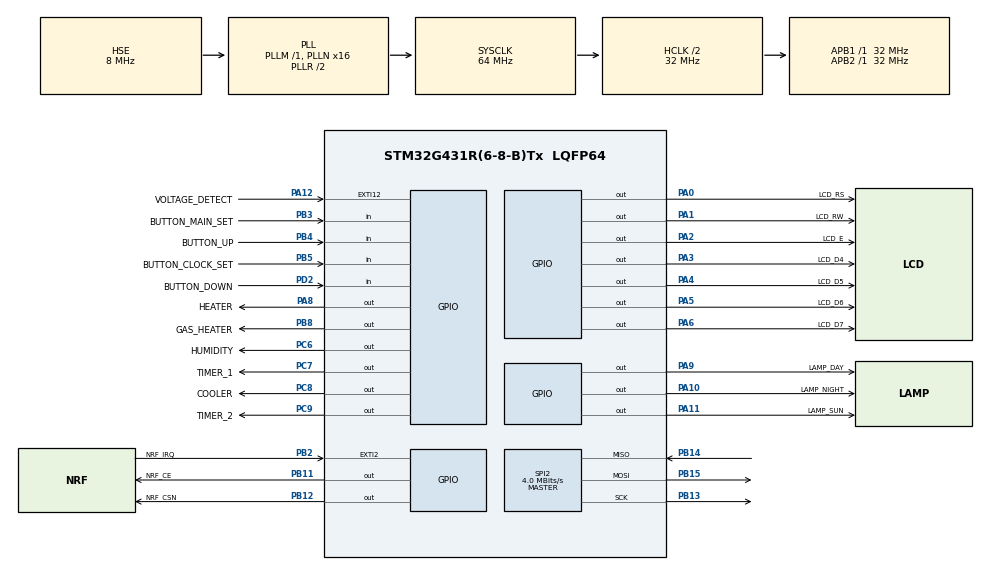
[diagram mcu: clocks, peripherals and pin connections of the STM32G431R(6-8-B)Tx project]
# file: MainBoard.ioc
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FREERTOS.INCLUDE_eTaskGetState=1
FREERTOS.INCLUDE_pcTaskGetTaskName=1
FREERTOS.INCLUDE_uxTaskGetStackHighWaterMark=1
FREERTOS.INCLUDE_uxTaskGetStackHighWaterMark2=1
FREERTOS.INCLUDE_vTaskCleanUpResources=1
FREERTOS.INCLUDE_vTaskDelete=1
FREERTOS.INCLUDE_xEventGroupSetBitFromISR=1
FREERTOS.INCLUDE_xSemaphoreGetMutexHolder=1
FREERTOS.INCLUDE_xTaskAbortDelay=1
FREERTOS.INCLUDE_xTaskGetHandle=1
FREERTOS.INCLUDE_xTaskGetSchedulerState=1
FREERTOS.Tasks01=defaultTask,24,128,StartDefaultTask,Default,NULL,Dynamic,NULL,NULL
FREERTOS.configCHECK_FOR_STACK_OVERFLOW=2
FREERTOS.configENABLE_FPU=1
FREERTOS.configGENERATE_RUN_TIME_STATS=1
FREERTOS.configRECORD_STACK_HIGH_ADDRESS=1
FREERTOS.configTIMER_TASK_PRIORITY=2
FREERTOS.configTIMER_TASK_STACK_DEPTH=512
FREERTOS.configTOTAL_HEAP_SIZE=15000
FREERTOS.configUSE_DAEMON_TASK_STARTUP_HOOK=1
FREERTOS.configUSE_IDLE_HOOK=1
FREERTOS.configUSE_MALLOC_FAILED_HOOK=1
FREERTOS.configUSE_NEWLIB_REENTRANT=1
FREERTOS.configUSE_STATS_FORMATTING_FUNCTIONS=1
FREERTOS.configUSE_TICK_HOOK=0
FREERTOS.configUSE_TRACE_FACILITY=1
Mcu.Family=STM32G4
Mcu.Name=STM32G431R(6-8-B)Tx
Mcu.Package=LQFP64
NVIC.EXTI15_10_IRQn=true\:5\:0\:false\:false\:true\:true\:true\:true\:true
NVIC.EXTI2_IRQn=true\:5\:0\:false\:false\:true\:true\:true\:true\:true
NVIC.PriorityGroup=NVIC_PRIORITYGROUP_4
NVIC.TIM1_UP_TIM16_IRQn=true\:15\:0\:false\:false\:true\:false\:false\:true\:true
NVIC.TIM2_IRQn=true\:5\:0\:false\:false\:true\:true\:true\:true\:true
NVIC.TimeBase=TIM1_UP_TIM16_IRQn
NVIC.TimeBaseIP=TIM1
PA0.GPIO_Label=LCD_RS
PA0.Signal=GPIO_Output
PA1.GPIO_Label=LCD_RW
PA1.Signal=GPIO_Output
PA10.GPIO_Label=LAMP_NIGHT
PA10.PinState=GPIO_PIN_SET
PA10.Signal=GPIO_Output
PA11.GPIO_Label=LAMP_SUN
PA11.Signal=GPIO_Output
PA12.GPIO_Label=VOLTAGE_DETECT
PA12.Signal=GPXTI12
PA13.Mode=Serial_Wire
PA13.Signal=SYS_JTMS-SWDIO
PA14.Mode=Serial_Wire
PA14.Signal=SYS_JTCK-SWCLK
PA2.GPIO_Label=LCD_E
PA2.Signal=GPIO_Output
PA3.GPIO_Label=LCD_D4
PA3.Signal=GPIO_Output
PA4.GPIO_Label=LCD_D5
PA4.Signal=GPIO_Output
PA5.GPIO_Label=LCD_D6
PA5.Signal=GPIO_Output
PA6.GPIO_Label=LCD_D7
PA6.Signal=GPIO_Output
PA8.GPIO_Label=HEATER
PA8.PinState=GPIO_PIN_SET
PA8.Signal=GPIO_Output
PA9.GPIO_Label=LAMP_DAY
PA9.PinState=GPIO_PIN_SET
PA9.Signal=GPIO_Output
PB11.GPIO_Label=NRF_CE
PB11.GPIO_Speed=GPIO_SPEED_FREQ_LOW
PB11.PinState=GPIO_PIN_RESET
PB11.Signal=GPIO_Output
PB12.GPIO_Label=NRF_CSN
PB12.GPIO_Speed=GPIO_SPEED_FREQ_LOW
PB12.PinState=GPIO_PIN_SET
PB12.Signal=GPIO_Output
PB13.Mode=Full_Duplex_Master
PB13.Signal=SPI2_SCK
PB14.Mode=Full_Duplex_Master
PB14.Signal=SPI2_MISO
PB15.Mode=Full_Duplex_Master
PB15.Signal=SPI2_MOSI
PB2.GPIO_Label=NRF_IRQ
PB2.GPIO_ModeDefaultEXTI=GPIO_MODE_IT_FALLING
PB2.GPIO_PuPd=GPIO_PULLUP
PB2.Signal=GPXTI2
PB3.GPIO_Label=BUTTON_MAIN_SET
PB3.Signal=GPIO_Input
PB4.GPIO_Label=BUTTON_UP
PB4.Signal=GPIO_Input
PB5.GPIO_Label=BUTTON_CLOCK_SET
PB5.Signal=GPIO_Input
PB8-BOOT0.GPIO_Label=GAS_HEATER
PB8-BOOT0.Signal=GPIO_Output
PC14-OSC32_IN.Mode=LSE-External-Oscillator
PC14-OSC32_IN.Signal=RCC_OSC32_IN
PC15-OSC32_OUT.Mode=LSE-External-Oscillator
PC15-OSC32_OUT.Signal=RCC_OSC32_OUT
PC6.GPIO_Label=HUMIDITY
PC6.PinState=GPIO_PIN_SET
PC6.Signal=GPIO_Output
PC7.GPIO_Label=TIMER_1
PC7.PinState=GPIO_PIN_SET
PC7.Signal=GPIO_Output
PC8.GPIO_Label=COOLER
PC8.PinState=GPIO_PIN_SET
PC8.Signal=GPIO_Output
PC9.GPIO_Label=TIMER_2
PC9.PinState=GPIO_PIN_SET
PC9.Signal=GPIO_Output
PD2.GPIO_Label=BUTTON_DOWN
PD2.Signal=GPIO_Input
PF0-OSC_IN.Mode=HSE-External-Oscillator
PF0-OSC_IN.Signal=RCC_OSC_IN
PF1-OSC_OUT.Mode=HSE-External-Oscillator
PF1-OSC_OUT.Signal=RCC_OSC_OUT
ProjectManager.HeapSize=0x200
ProjectManager.StackSize=0x400
ProjectManager.TargetToolchain=STM32CubeIDE
RCC.ADC12Freq_Value=64000000
RCC.AHBCLKDivider=RCC_SYSCLK_DIV2
RCC.AHBFreq_Value=32000000
RCC.APB1Freq_Value=32000000
RCC.APB1TimFreq_Value=32000000
RCC.APB2Freq_Value=32000000
RCC.APB2TimFreq_Value=32000000
RCC.CortexFreq_Value=32000000
RCC.EXTERNAL_CLOCK_VALUE=12288000
RCC.HCLKFreq_Value=32000000
RCC.HSE_VALUE=8000000
RCC.HSI48_VALUE=48000000
RCC.HSI_VALUE=16000000
RCC.PLLN=16
RCC.PLLSourceVirtual=RCC_PLLSOURCE_HSE
RCC.PREFETCH_ENABLE=1
RCC.RTCClockSelection=RCC_RTCCLKSOURCE_LSE
RCC.SYSCLKFreq_VALUE=64000000
RCC.SYSCLKSource=RCC_SYSCLKSOURCE_PLLCLK
RCC.USBFreq_Value=64000000
RCC.VCOOutputFreq_Value=128000000
RTC.Format=RTC_FORMAT_BIN
RTC.HourFormat=RTC_HOURFORMAT_24
RTC.Hours=23
RTC.Minutes=45
RTC.Seconds=10
RTC.Year=26
SPI2.BaudRatePrescaler=SPI_BAUDRATEPRESCALER_8
SPI2.CalculateBaudRate=4.0 MBits/s
SPI2.DataSize=SPI_DATASIZE_8BIT
SPI2.Direction=SPI_DIRECTION_2LINES
SPI2.Mode=SPI_MODE_MASTER
SPI2.VirtualType=VM_MASTER
TIM2.PeriodNoDither=532
TIM2.Prescaler=999
VP_FREERTOS_VS_CMSIS_V2.Mode=CMSIS_V2
VP_RTC_VS_RTC_Activate.Mode=RTC_Enabled
VP_RTC_VS_RTC_Calendar.Mode=RTC_Calendar
VP_SYS_VS_DBSignals.Mode=DisableDeadBatterySignals
VP_SYS_VS_tim1.Mode=TIM1
VP_TIM2_VS_ClockSourceINT.Mode=Internal
board=custom

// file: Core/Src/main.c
/* USER CODE BEGIN Header */
/**
  ******************************************************************************
  * @file           : main.c
  * @brief          : Main program body
  * @author         : Mohammadali Abbasi <m.elec76a@gmail.com>
  * @license        : Apache-2.0
  ******************************************************************************
  * @attention
  *
  * Copyright (c) 2026 STMicroelectronics.
  * All rights reserved.
  *
  * This software is licensed under terms that can be found in the LICENSE file
  * in the root directory of this software component.
  * If no LICENSE file comes with this software, it is provided AS-IS.
  *
  ******************************************************************************
 */

/* USER CODE END Header */
#include "main.h"
#include "cmsis_os.h"
#include "rtc.h"
#include "spi.h"
#include "tim.h"
#include "gpio.h"

/* USER CODE BEGIN Includes */
#include "app_config.h"
#include "app_globals.h"
#include "app_utils.h"
#include "app_nrf.h"
#include "app_lighting.h"
#include "app_output.h"
#include "app_setting.h"
#include "nrf24.h"
#include "HD44780.h"
#include "ConvertCalendar.h"
#include <stdio.h>
#include <string.h>
#include <math.h>
/* USER CODE END Includes */

void SystemClock_Config(void);
void MX_FREERTOS_Init(void);
/* USER CODE BEGIN PFP */
static void App_CreateTasks(void);
static void App_CreateQueues(void);
/* USER CODE END PFP */

/* USER CODE BEGIN 0 */

/*==============================================================================
 *                          ONE-SHOT INIT TASK
 *============================================================================*/
/**
 * @brief  Initialise the nRF24L01+ and the LCD, then delete this task.
 * @param  pvParameters  Unused.
 */
void Init_parameters(void *pvParameters)
{
    (void)pvParameters;

    /*------------------- nRF24L01+ initialisation ----------------------*/
    vTaskDelay(pdMS_TO_TICKS(10U));

    (void)nRF24_Init();
    nRF24_SetPowerMode(nRF24_PWR_UP);
    vTaskDelay(pdMS_TO_TICKS(5U));
    nRF24_SetDataRate(nRF24_DR_250kbps);
    nRF24_SetCRCScheme(nRF24_CRC_2byte);
    nRF24_SetAddrWidth(5U);
    nRF24_SetRXPipe(1U, nRF24_AA_ON, (uint8_t)sizeof(SensorData_t));
    nRF24_FlushTX();
    nRF24_FlushRX();
    nRF24_ClearIRQFlags();
    nRF24_SetOperationalMode(nRF24_MODE_RX);
    apply_mode(nrf_mode);
    nRF24_CE_H();

    vTaskDelay(pdMS_TO_TICKS(150U));

    /*------------------- LCD initialisation ----------------------------*/
    (void)HD44780_Init();
    HD44780_Clear();

    /*------------------- Done: remove this task ------------------------*/
    vTaskDelete(NULL);
}

/* USER CODE END 0 */

int main(void)
{

  /* MCU Configuration--------------------------------------------------------*/

  /* Reset of all peripherals, Initializes the Flash interface and the Systick. */
  HAL_Init();

  /* Configure the system clock */
  SystemClock_Config();

  /* Initialize all configured peripherals */
  MX_GPIO_Init();
  MX_SPI2_Init();
  MX_TIM2_Init();
  MX_RTC_Init();
  /* USER CODE BEGIN 2 */
    App_CreateQueues();
    App_CreateTasks();

    vTaskStartScheduler();
  /* USER CODE END 2 */

  /* Infinite loop */
  /* USER CODE BEGIN WHILE */
    /* USER CODE BEGIN WHILE */
    while (1)
    {
    /* USER CODE END WHILE */

  }
}

void SystemClock_Config(void)
{
  RCC_OscInitTypeDef RCC_OscInitStruct = {0};
  RCC_ClkInitTypeDef RCC_ClkInitStruct = {0};

  /** Configure the main internal regulator output voltage
  */
  HAL_PWREx_ControlVoltageScaling(PWR_REGULATOR_VOLTAGE_SCALE1);

  /** Configure LSE Drive Capability
  */
  HAL_PWR_EnableBkUpAccess();
  __HAL_RCC_LSEDRIVE_CONFIG(RCC_LSEDRIVE_LOW);

  /** Initializes the RCC Oscillators according to the specified parameters
  * in the RCC_OscInitTypeDef structure.
  */
  RCC_OscInitStruct.OscillatorType = RCC_OSCILLATORTYPE_HSE|RCC_OSCILLATORTYPE_LSE;
  RCC_OscInitStruct.HSEState = RCC_HSE_ON;
  RCC_OscInitStruct.LSEState = RCC_LSE_ON;
  RCC_OscInitStruct.PLL.PLLState = RCC_PLL_ON;
  RCC_OscInitStruct.PLL.PLLSource = RCC_PLLSOURCE_HSE;
  RCC_OscInitStruct.PLL.PLLM = RCC_PLLM_DIV1;
  RCC_OscInitStruct.PLL.PLLN = 16;
  RCC_OscInitStruct.PLL.PLLP = RCC_PLLP_DIV2;
  RCC_OscInitStruct.PLL.PLLQ = RCC_PLLQ_DIV2;
  RCC_OscInitStruct.PLL.PLLR = RCC_PLLR_DIV2;
  if (HAL_RCC_OscConfig(&RCC_OscInitStruct) != HAL_OK)
  {
    Error_Handler();
  }

  /** Initializes the CPU, AHB and APB buses clocks
  */
  RCC_ClkInitStruct.ClockType = RCC_CLOCKTYPE_HCLK|RCC_CLOCKTYPE_SYSCLK
                              |RCC_CLOCKTYPE_PCLK1|RCC_CLOCKTYPE_PCLK2;
  RCC_ClkInitStruct.SYSCLKSource = RCC_SYSCLKSOURCE_PLLCLK;
  RCC_ClkInitStruct.AHBCLKDivider = RCC_SYSCLK_DIV2;
  RCC_ClkInitStruct.APB1CLKDivider = RCC_HCLK_DIV1;
  RCC_ClkInitStruct.APB2CLKDivider = RCC_HCLK_DIV1;

  if (HAL_RCC_ClockConfig(&RCC_ClkInitStruct, FLASH_LATENCY_1) != HAL_OK)
  {
    Error_Handler();
  }
}

/* USER CODE BEGIN 4 */
/*==============================================================================
 *                          QUEUE CREATION
 *============================================================================*/
/**
 * @brief  Create all inter-task queues.
 */
static void App_CreateQueues(void)
{
    nrfDataR_Queue = xQueueCreate(10U, sizeof(SensorData_t));
    if (nrfDataR_Queue == NULL)
    {
        Error_Handler();
    }
}

/*==============================================================================
 *                          TASK CREATION
 *============================================================================*/
/**
 * @brief  Create every FreeRTOS task with the original priorities.
 */
static void App_CreateTasks(void)
{
    (void)xTaskCreate(Init_parameters,   "Init",             512U, NULL, 2U, NULL);
    (void)xTaskCreate(Lighting_Manager,  "Lighting_Manager", 512U, NULL, 1U, NULL);
    (void)xTaskCreate(Task_nRF_Receiver, "nrfRx",            512U, NULL, 3U, &nrfTaskHandle);
    (void)xTaskCreate(Setting,           "setting",          512U, NULL, 1U, &settingTaskHandle);
    (void)xTaskCreate(Output_Manager,    "Output_Manager",   512U, NULL, 1U, NULL);
}

/*==============================================================================
 *                          EXTERNAL INTERRUPT CALLBACK
 *============================================================================*/
/**
 * @brief  Central GPIO EXTI dispatcher.
 * @param  GPIO_Pin  Pin that triggered the interrupt.
 */
void HAL_GPIO_EXTI_Callback(uint16_t GPIO_Pin)
{
    /*------------------- nRF24L01+ RX_DR ----------------------------*/
    if (GPIO_Pin == EXTI_NRF_PIN)
    {
        BaseType_t   xHigherPriorityTaskWoken = pdFALSE;
        uint8_t      length                   = 0U;
        SensorData_t rxData_temporary         = {0};

        nRF24_ReadPayload((uint8_t *)&rxData_temporary, &length);

        if (rxData_temporary.system_id == system_id)
        {
            (void)xQueueSendFromISR(nrfDataR_Queue, &rxData_temporary,
                                    &xHigherPriorityTaskWoken);
        }
        else
        {
            nRF24_FlushRX();
        }

        portYIELD_FROM_ISR(xHigherPriorityTaskWoken);
    }

    /*------------------- Power-loss detection -----------------------*/
    if (GPIO_Pin == EXTI_VOLTAGE_PIN)
    {
        PowerOutage++;
        (void)HAL_GPIO_WritePin(SUN_LAMP, GPIO_PIN_RESET);
        (void)HAL_TIM_Base_Start_IT(&htim2);
    }
}

/* USER CODE END 4 */

void HAL_TIM_PeriodElapsedCallback(TIM_HandleTypeDef *htim)
{
  /* USER CODE BEGIN Callback 0 */
	 /*------------------- Sun PWM pulse --------------------------------*/
	    if (htim->Instance == TIM2)
	    {
	        (void)HAL_GPIO_WritePin(SUN_LAMP, GPIO_PIN_SET);
	        (void)HAL_TIM_Base_Stop_IT(&htim2);
	        __HAL_TIM_SET_AUTORELOAD(&htim2, timer2ARRControl);
	    }

  /* USER CODE END Callback 0 */
  if (htim->Instance == TIM1)
  {
    HAL_IncTick();
  }
}

void Error_Handler(void)
{
  __disable_irq();
  while (1)
  {
  }
}

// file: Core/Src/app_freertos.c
/* USER CODE BEGIN Header */
/**
  ******************************************************************************
  * File Name          : app_freertos.c
  * Description        : Code for freertos applications
  ******************************************************************************
  * @attention
  *
  * Copyright (c) 2026 STMicroelectronics.
  * All rights reserved.
  *
  * This software is licensed under terms that can be found in the LICENSE file
  * in the root directory of this software component.
  * If no LICENSE file comes with this software, it is provided AS-IS.
  *
  ******************************************************************************
  */
/* USER CODE END Header */

#include "FreeRTOS.h"
#include "task.h"
#include "main.h"
#include "cmsis_os.h"

/* Definitions for defaultTask */
osThreadId_t defaultTaskHandle;
const osThreadAttr_t defaultTask_attributes = {
  .name = "defaultTask",
  .priority = (osPriority_t) osPriorityNormal,
  .stack_size = 128 * 4
};

void StartDefaultTask(void *argument);

void MX_FREERTOS_Init(void); /* (MISRA C 2004 rule 8.1) */

/* Hook prototypes */
void configureTimerForRunTimeStats(void);
unsigned long getRunTimeCounterValue(void);
void vApplicationIdleHook(void);
void vApplicationStackOverflowHook(xTaskHandle xTask, signed char *pcTaskName);
void vApplicationMallocFailedHook(void);
void vApplicationDaemonTaskStartupHook(void);

/* USER CODE BEGIN 1 */
/* Functions needed when configGENERATE_RUN_TIME_STATS is on */
__weak void configureTimerForRunTimeStats(void)
{

}

__weak unsigned long getRunTimeCounterValue(void)
{
return 0;
}
/* USER CODE END 1 */

/* USER CODE BEGIN 2 */
void vApplicationIdleHook( void )
{
   /* vApplicationIdleHook() will only be called if configUSE_IDLE_HOOK is set
   to 1 in FreeRTOSConfig.h. It will be called on each iteration of the idle
   task. It is essential that code added to this hook function never attempts
   to block in any way (for example, call xQueueReceive() with a block time
   specified, or call vTaskDelay()). If the application makes use of the
   vTaskDelete() API function (as this demo application does) then it is also
   important that vApplicationIdleHook() is permitted to return to its calling
   function, because it is the responsibility of the idle task to clean up
   memory allocated by the kernel to any task that has since been deleted. */
}
/* USER CODE END 2 */

/* USER CODE BEGIN 4 */
void vApplicationStackOverflowHook(xTaskHandle xTask, signed char *pcTaskName)
{
   /* Run time stack overflow checking is performed if
   configCHECK_FOR_STACK_OVERFLOW is defined to 1 or 2. This hook function is
   called if a stack overflow is detected. */
}
/* USER CODE END 4 */

/* USER CODE BEGIN 5 */
void vApplicationMallocFailedHook(void)
{
   /* vApplicationMallocFailedHook() will only be called if
   configUSE_MALLOC_FAILED_HOOK is set to 1 in FreeRTOSConfig.h. It is a hook
   function that will get called if a call to pvPortMalloc() fails.
   pvPortMalloc() is called internally by the kernel whenever a task, queue,
   timer or semaphore is created. It is also called by various parts of the
   demo application. If heap_1.c or heap_2.c are used, then the size of the
   heap available to pvPortMalloc() is defined by configTOTAL_HEAP_SIZE in
   FreeRTOSConfig.h, and the xPortGetFreeHeapSize() API function can be used
   to query the size of free heap space that remains (although it does not
   provide information on how the remaining heap might be fragmented). */
}
/* USER CODE END 5 */

/* USER CODE BEGIN DAEMON_TASK_STARTUP_HOOK */
void vApplicationDaemonTaskStartupHook(void)
{
}
/* USER CODE END DAEMON_TASK_STARTUP_HOOK */

void MX_FREERTOS_Init(void) {

  /* Create the thread(s) */
  /* creation of defaultTask */
  defaultTaskHandle = osThreadNew(StartDefaultTask, NULL, &defaultTask_attributes);

}

void StartDefaultTask(void *argument)
{
  for(;;)
  {
    osDelay(1);
  }
}
